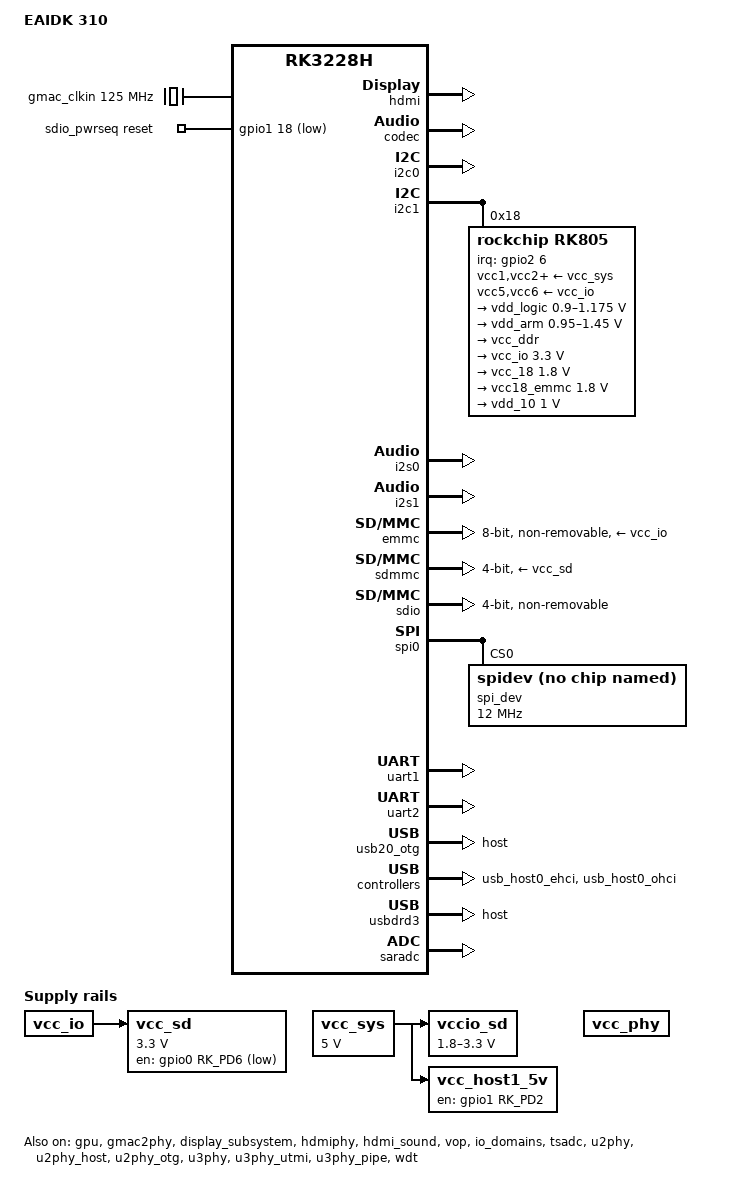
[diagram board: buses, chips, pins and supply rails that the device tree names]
// SPDX-License-Identifier: (GPL-2.0+ OR MIT)
/*
 * Copyright (c) 2017 T-Chip Intelligent Technology Co., Ltd
 */

/dts-v1/;
#include "rk3328.dtsi"

/ {
    model = "EAIDK 310";
    compatible = "rockchip,rk3228h-eaidk-310", "rockchip,rk3228h";

    aliases {
        mmc0 = &emmc;
        mmc1 = &sdmmc;
        mmc2 = &sdio;
    };

    chosen {
        bootargs = "earlycon=uart8250,mmio32,0xff130000";
        stdout-path = "serial2: 1500000n8";
    };

    gmac_clkin: external-gmac-clock {
        compatible = "fixed-clock";
        clock-frequency = <125000000>;
        clock-output-names = "gmac_clkin";
        #clock-cells = <0>;
    };

    sound {
        compatible = "simple-audio-card";
        simple-audio-card,format = "i2s";
        simple-audio-card,mclk-fs = <256>;
        simple-audio-card,name = "rockchip,rk3328";
        simple-audio-card,cpu {
            sound-dai = <&i2s1>;
        };
        simple-audio-card,codec {
            sound-dai = <&codec>;
        };
    };

    hdmi-sound {
        compatible = "simple-audio-card";
        simple-audio-card,format = "i2s";
        simple-audio-card,mclk-fs = <128>;
        simple-audio-card,name = "rockchip,hdmi";
        simple-audio-card,cpu {
            sound-dai = <&i2s0>;
        };
        simple-audio-card,codec {
            sound-dai = <&hdmi>;
        };
    };

    vcc_sd: sdmmc-regulator {
        compatible = "regulator-fixed";
        gpio = <&gpio0 RK_PD6 GPIO_ACTIVE_HIGH>;
        pinctrl-names = "default";
        pinctrl-0 = <&sdmmc0m1_pin>;
        regulator-boot-on;
        regulator-name = "vcc_sd";
        regulator-min-microvolt = <3300000>;
        regulator-max-microvolt = <3300000>;
        vin-supply = <&vcc_io>;
    };

    vccio_sd: sdmmcio-regulator {
        compatible = "regulator-gpio";
        gpios = <&grf_gpio 0 GPIO_ACTIVE_HIGH>;
        states = <1800000 0x1>,
                 <3300000 0x0>;
        regulator-name = "vccio_sd";
        regulator-type = "voltage";
        regulator-min-microvolt = <1800000>;
        regulator-max-microvolt = <3300000>;
        regulator-always-on;
        vin-supply = <&vcc_sys>;
    };

    vcc_host1_5v: vcc_otg_5v: vcc-host1-5v-regulator {
        compatible = "regulator-fixed";
        enable-active-high;
        gpio = <&gpio1 RK_PD2 GPIO_ACTIVE_HIGH>;
        pinctrl-names = "default";
        pinctrl-0 = <&usb20_host_drv>;
        regulator-name = "vcc_host1_5v";
        regulator-always-on;
        vin-supply = <&vcc_sys>;
    };

    vcc_sys: vcc-sys {
        compatible = "regulator-fixed";
        regulator-name = "vcc_sys";
        regulator-min-microvolt = <5000000>;
        regulator-max-microvolt = <5000000>;
    };

    vcc_phy: vcc-phy-regulator {
        compatible = "regulator-fixed";
        regulator-name = "vcc_phy";
        regulator-always-on;
        regulator-boot-on;
    };

    sdio_pwrseq: sdio-pwrseq {
        compatible = "mmc-pwrseq-simple";
        clocks = <&rk805 1>;
        clock-names = "ext_clock";
        pinctrl-names = "default";
        pinctrl-0 = <&wifi_enable_h>;
        reset-gpios = <&gpio1 18 GPIO_ACTIVE_LOW>;
    };
};

&cpu0 {
    cpu-supply = <&vdd_arm>;
};

&cpu1 {
    cpu-supply = <&vdd_arm>;
};

&cpu2 {
    cpu-supply = <&vdd_arm>;
};

&cpu3 {
    cpu-supply = <&vdd_arm>;
};

&gpu {
    status = "okay";
    mali-supply = <&vdd_logic>;
};

&gmac2phy {
    phy-supply = <&vcc_phy>;
    clock_in_out = "output";
    assigned-clock-rate = <50000000>;
    assigned-clocks = <&cru SCLK_MAC2PHY>;
    assigned-clock-parents = <&cru SCLK_MAC2PHY_SRC>;
    tx_delay = <0x24>;
    rx_delay = <0x18>;
    status = "okay";
};

&display_subsystem {
    status = "okay";
};

&hdmi {
    status = "okay";
};

&hdmiphy {
    status = "okay";
};

&hdmi_sound {
    status = "okay";
};

&vop {
    status = "okay";
};

&vop_mmu {
    status = "okay";
};

&codec {
    status = "okay";
};

&i2c0 {
    status = "okay";
};

&i2c1 {
    status = "okay";

    rk805: pmic@18 {
        compatible = "rockchip,rk805";
        status = "okay";
        reg = <0x18>;
        interrupt-parent = <&gpio2>;
        interrupts = <6 IRQ_TYPE_LEVEL_LOW>;
        pinctrl-names = "default";
        pinctrl-0 = <&pmic_int_l>;
        wakeup-source;
        gpio-controller;
        #gpio-cells = <2>;
        #clock-cells = <1>;
        clock-output-names = "rk805-clkout1", "rk805-clkout2";

        vcc1-supply = <&vcc_sys>;
        vcc2-supply = <&vcc_sys>;
        vcc3-supply = <&vcc_sys>;
        vcc4-supply = <&vcc_sys>;
        vcc5-supply = <&vcc_io>;
        vcc6-supply = <&vcc_io>;

        regulators {
            vdd_logic: DCDC_REG1 {
                regulator-name = "vdd_logic";
                regulator-min-microvolt = <900000>;
                regulator-max-microvolt = <1175000>;
                regulator-ramp-delay = <12500>;
                regulator-always-on;
                regulator-boot-on;
                regulator-state-mem {
                    regulator-on-in-suspend;
                    regulator-suspend-microvolt = <1000000>;
                };
            };

            vdd_arm: DCDC_REG2 {
                regulator-name = "vdd_arm";
                regulator-min-microvolt = <950000>;
                regulator-max-microvolt = <1450000>;
                regulator-ramp-delay = <12500>;
                regulator-always-on;
                regulator-boot-on;
                regulator-state-mem {
                    regulator-on-in-suspend;
                    regulator-suspend-microvolt = <950000>;
                };
            };

            vcc_ddr: DCDC_REG3 {
                regulator-name = "vcc_ddr";
                regulator-always-on;
                regulator-boot-on;
                regulator-state-mem {
                    regulator-on-in-suspend;
                };
            };

            vcc_io: DCDC_REG4 {
                regulator-name = "vcc_io";
                regulator-min-microvolt = <3300000>;
                regulator-max-microvolt = <3300000>;
                regulator-always-on;
                regulator-boot-on;
                regulator-state-mem {
                    regulator-on-in-suspend;
                    regulator-suspend-microvolt = <3300000>;
                };
            };

            vcc_18: LDO_REG1 {
                regulator-name = "vcc_18";
                regulator-min-microvolt = <1800000>;
                regulator-max-microvolt = <1800000>;
                regulator-always-on;
                regulator-boot-on;
                regulator-state-mem {
                    regulator-on-in-suspend;
                    regulator-suspend-microvolt = <1800000>;
                };
            };

            vcc18_emmc: LDO_REG2 {
                regulator-name = "vcc18_emmc";
                regulator-min-microvolt = <1800000>;
                regulator-max-microvolt = <1800000>;
                regulator-always-on;
                regulator-boot-on;
                regulator-state-mem {
                    regulator-on-in-suspend;
                    regulator-suspend-microvolt = <1800000>;
                };
            };

            vdd_10: LDO_REG3 {
                regulator-name = "vdd_10";
                regulator-min-microvolt = <1000000>;
                regulator-max-microvolt = <1000000>;
                regulator-always-on;
                regulator-boot-on;
                regulator-state-mem {
                    regulator-on-in-suspend;
                    regulator-suspend-microvolt = <1000000>;
                };
            };
        };
    };
};

&i2s0 {
    status = "okay";
};

&i2s1 {
    status = "okay";
};

&io_domains {
    status = "okay";

    vccio1-supply = <&vcc_io>;
    vccio2-supply = <&vcc18_emmc>;
    vccio3-supply = <&vccio_sd>;
    vccio4-supply = <&vcc_18>;
    vccio5-supply = <&vcc_io>;
    vccio6-supply = <&vcc_io>;
    pmuio-supply = <&vcc_io>;
};

&pinctrl {
    sdio-pwrseq {
        wifi_enable_h: wifi-enable-h {
            rockchip,pins = <1 RK_PC2 RK_FUNC_GPIO &pcfg_pull_none>;
        };
    };

    ir {
        ir_int: ir-int {
            rockchip,pins = <2 RK_PA2 RK_FUNC_GPIO &pcfg_pull_none>;
        };
    };

    pmic {
        pmic_int_l: pmic-int-l {
            rockchip,pins = <1 RK_PD0 RK_FUNC_GPIO &pcfg_pull_up>;
        };
    };

    usb2 {
        usb20_host_drv: usb20-host-drv {
            rockchip,pins = <1 RK_PD2 RK_FUNC_GPIO &pcfg_pull_none>;
        };
    };

    gmac2phy {
        fephyled_rxm1: fephyled-rxm1 {
            rockchip,pins = <2 RK_PC6 RK_FUNC_GPIO &pcfg_pull_up_4ma>;
        };

        fephyled_linkm1: fephyled-linkm1 {
            rockchip,pins = <2 RK_PC5 RK_FUNC_GPIO &pcfg_pull_up_4ma>;
        };
    };
};

&emmc {
    bus-width = <8>;
    cap-mmc-highspeed;
    mmc-ddr-1_8v;
    mmc-hs200-1_8v;
    non-removable;
    pinctrl-names = "default";
    pinctrl-0 = <&emmc_clk &emmc_cmd &emmc_bus8>;
    vmmc-supply = <&vcc_io>;
    vqmmc-supply = <&vcc18_emmc>;
    status = "okay";
};

&sdmmc {
    bus-width = <4>;
    cap-mmc-highspeed;
    cap-sd-highspeed;
    disable-wp;
    max-frequency = <150000000>;
    pinctrl-names = "default";
    pinctrl-0 = <&sdmmc0_clk &sdmmc0_cmd &sdmmc0_dectn &sdmmc0_bus4>;
    sd-uhs-sdr12;
    sd-uhs-sdr25;
    sd-uhs-sdr50;
    sd-uhs-sdr104;
    vmmc-supply = <&vcc_sd>;
    vqmmc-supply = <&vccio_sd>;
    status = "okay";
};

&sdio {
    /* WiFi & BT combo module Ampak AP6345 */
    bus-width = <4>;
    max-frequency = <125000000>;
    cap-sdio-irq;
    cap-sd-highspeed;
    keep-power-in-suspend;
    disable-wp;
    supports-sdio;
    sd-uhs-sdr104;
    mmc-pwrseq = <&sdio_pwrseq>;
    non-removable;
    num-slots = <1>;
    pinctrl-names = "default";
    pinctrl-0 = <&sdmmc1_bus4 &sdmmc1_cmd &sdmmc1_clk>;
    status = "okay";
};

&tsadc {
    rockchip,hw-tshut-temp = <120000>;
    rockchip,hw-tshut-mode = <0>;
    rockchip,hw-tshut-polarity = <0>;
    status = "okay";
};


&spi0 {
    status = "okay";
    max-freq = <48000000>; /* spi internal clk, don't modify */
    spi_dev@0 {
        compatible = "rockchip,spidev";
        reg = <0>;
        spi-max-frequency = <12000000>;
        spi-lsb-first;
    };
};


&u2phy {
    status = "okay";
};

&u2phy_host {
    status = "okay";
};

&u2phy_otg {
    status = "okay";
};

&u3phy {
    status = "okay";
};

&u3phy_utmi {
    status = "okay";
};

&u3phy_pipe {
    status = "okay";
};

&uart1 {
    status = "okay";
};

&uart2 {
    status = "okay";
};

&usb20_otg {
    dr_mode = "host";
    status = "okay";
};

&usb_host0_ehci {
    status = "okay";
};

&usb_host0_ohci {
    status = "okay";
};

&usbdrd3 {
    dr_mode = "host";
    status = "okay";
};

&wdt {
    status = "okay";
};

&saradc {
    status = "okay";
};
